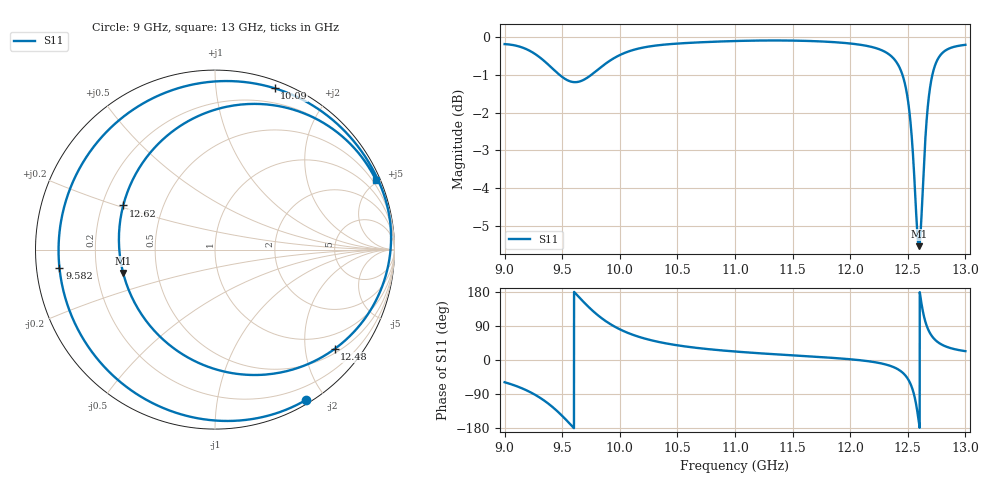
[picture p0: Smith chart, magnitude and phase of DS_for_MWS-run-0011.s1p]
! TOUCHSTONE file generated by CST DESIGN STUDIO
! Date and time: Tue Feb  4 16:25:51 2025
! Project name: C:\Work\MatlabApps\UnitCellOptimizationMatlab\CST\unitcell.cst
! Tree item: Tasks\Sweep1\SPara1\S-Parameters
! Header version: 2024
! Port assignment regex: !\s*Touchstone port\s*([0-9]+)\s*=\s*(CST MWS port|CST DES external port|CST DES block port)\s*(.+)\s* \(\"(.*)\"\)(\s*mode\s*([0-9]+))?.*
! Touchstone port assignment:
! Touchstone port 1 = CST DES external port 1 ("")
# GHz S MA R 50
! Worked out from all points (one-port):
!   4001 points, 9 GHz to 13 GHz, reference 50 ohm
!   lowest |S11| = -5.5 dB at 12.6 GHz (marker M1), VSWR 3.24, Z = 15.7 - j5.64 ohm
!   |S11| at or under -10 dB: nowhere
!   S11 on the Smith chart (normalised r, x): 9 GHz: 0.04, -1.78; 9.582 GHz: 0.07, -0.06; 10.09 GHz: 0.06, +1.43; 12.48 GHz: 0.60, -2.65; 12.62 GHz: 0.29, +0.21; 13 GHz: 0.28, +4.82
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9  0.9791 -58.7
9.151  0.9693 -74.7
9.302  0.9411 -98.6
9.404  0.9122 -121.0
9.5  0.8856 -147.5
9.582  0.8726 -173.3
9.674  0.876 156.8
9.788  0.9001 123.6
9.884  0.924 101.3
10  0.9469 81.0
10.085  0.9584 69.7
10.5  0.9807 38.8
11  0.9883 22.4
11.5  0.9896 12.3
12  0.9809 1.9
12.341  0.9479 -14.7
12.476  0.8661 -39.8
12.5  0.8273 -49.5
12.555  0.6582 -92.2
12.575  0.5751 -121.6
12.597  0.5281 -165.8
12.616  0.5675 154.3
12.641  0.6824 114.4
12.666  0.7847 88.7
12.706  0.8804 64.5
12.752  0.9298 49.2
12.845  0.9638 34.0
13  0.977 23.4
